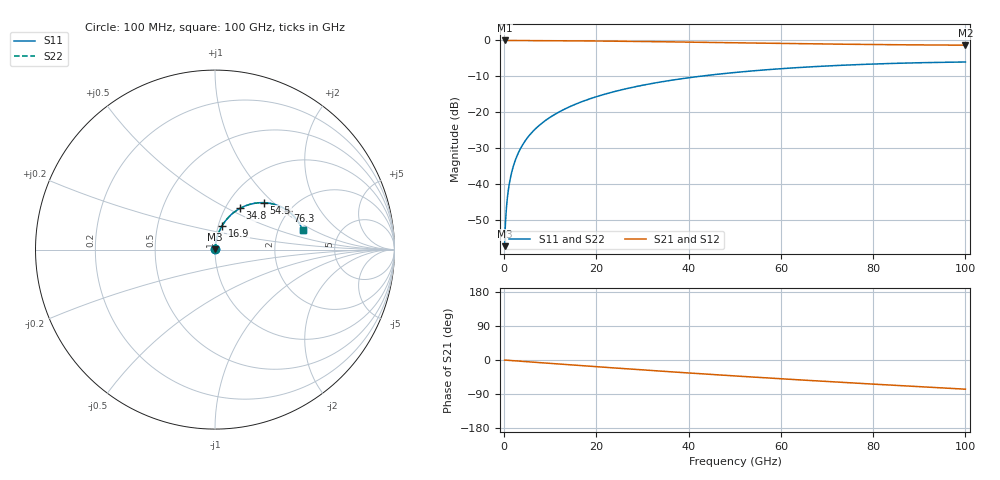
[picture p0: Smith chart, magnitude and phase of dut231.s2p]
! Touchstone file exported from HFSS 2026.1.0
!  File:  C:/ffzhzh/LocalFiles/Ansys_Project_Files/temp_train_RDL_231_1783501165_55944.aedt
!  Generated:  05:00:32 PM Jul  8, 2026
!  Design:  RDL
!  Project:  temp_train_RDL_231_1783501165_55944
! Variables:
!  h_bsmrdl = 2um
!  h_ox = 20um
!  h_rdl = 5um
!  h_sub = 80um
!  h_tmrdl = 4.06um
!  h_tsv = 80um
!  h_via = 3um
!  l_bsmrdl = 300um
!  l_sub = 625.9um
!  l_tmrdl = 225.9um
!  m_sub = 200um
!  pitch = 53.88um
!  r_tsv = 6um
!  s_tmrdl = 10um
!  w_bsmrdl = 18um
!  w_sub = 500um
!  w_tmrdl = 27.64um
!  x_tsv_center1 = 239.72um
!  x_tsv_center2 = 557.72um
!  x_tsv_center3 = 811.26um
!  x_tsv_center4 = 1129.26um
!  x_tsv_center5 = 1382.8um
!  x_tsv_center6 = 1700.8um
# GHz S MA R 50.000000
! Terminal data exported
! Port[1] = TM_RDL1_1_T1
! Port[2] = TM_RDL1_1_T2
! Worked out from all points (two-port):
!   1000 points, 100 MHz to 100 GHz, reference 50 ohm
!   highest |S21| = -0.01 dB at 100 MHz (marker M1); lowest = -1.3 dB at 100 GHz (marker M2)
!   |S21| within 3 dB of the highest: start of sweep to end of sweep
!   lowest |S11| = -57.4 dB at 100 MHz (marker M3), VSWR 1.00, Z = 50.1 + j0.0974 ohm
!   |S11| at or under -10 dB: start of sweep to 42.53 GHz
!   |S22| runs from -57.4 to -6.0 dB; largest |S21 - S12| = 4.8e-15
!   S11 on the Smith chart (normalised r, x): 100 MHz: 1.00, +0.00; 16.9 GHz: 1.04, +0.29; 34.8 GHz: 1.17, +0.58; 54.5 GHz: 1.44, +0.88; 76.3 GHz: 1.97, +1.08; 100 GHz: 2.74, +0.79
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0.1  0.001344 46.3  0.9991 -0.1  0.9991 -0.1  0.001344 46.3
! Gamma 0 0 0 0
! Port Impedance 50 0 50 0
0.4  0.003813 72.9  0.9989 -0.4  0.9989 -0.4  0.003813 72.9
0.8  0.00722 79.8  0.9988 -0.7  0.9988 -0.7  0.00722 79.8
1.1  0.009812 81.8  0.9987 -1.0  0.9987 -1.0  0.009812 81.8
1.4  0.01242 82.9  0.9987 -1.3  0.9987 -1.3  0.01242 82.9
1.9  0.01676 83.6  0.9985 -1.7  0.9985 -1.7  0.01676 83.6
2.4  0.0211 83.9  0.9983 -2.2  0.9983 -2.2  0.0211 83.9
3.9  0.034 83.4  0.9976 -3.5  0.9976 -3.5  0.034 83.4
6  0.05177 82.0  0.9963 -5.4  0.9963 -5.4  0.05177 82.0
8.8  0.07501 79.8  0.9942 -7.9  0.9942 -7.9  0.07501 79.8
12.4  0.1043 76.9  0.9909 -11.1  0.9909 -11.1  0.1043 76.9
16.8  0.1392 73.4  0.986 -14.9  0.986 -14.9  0.1392 73.4
16.9  0.14 73.3  0.9859 -15.0  0.9859 -15.0  0.14 73.3
24.3  0.1961 67.2  0.9756 -21.3  0.9756 -21.3  0.1961 67.2
33.4  0.2596 59.9  0.96 -28.9  0.96 -28.9  0.2596 59.9
34.8  0.2688 58.7  0.9574 -30.0  0.9574 -30.0  0.2688 58.7
50.1  0.3574 46.9  0.9275 -42.1  0.9275 -42.1  0.3574 46.9
54.5  0.3788 43.6  0.9188 -45.4  0.9188 -45.4  0.3788 43.6
66.7  0.4289 34.8  0.8965 -54.4  0.8965 -54.4  0.4289 34.8
76.3  0.4589 28.2  0.8815 -61.1  0.8815 -61.1  0.4588 28.2
83.4  0.4759 23.4  0.8724 -65.9  0.8724 -65.9  0.4759 23.4
100  0.4997 12.4  0.8587 -77.0  0.8587 -77.0  0.4997 12.4
